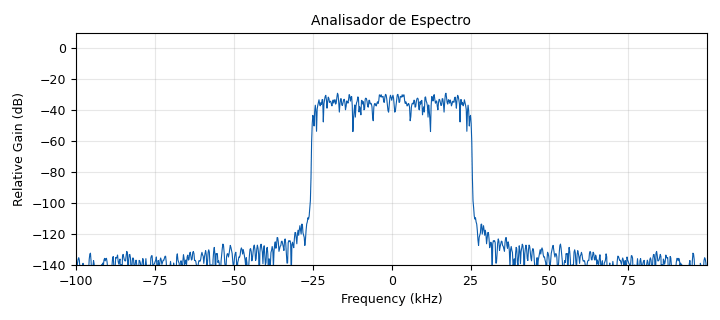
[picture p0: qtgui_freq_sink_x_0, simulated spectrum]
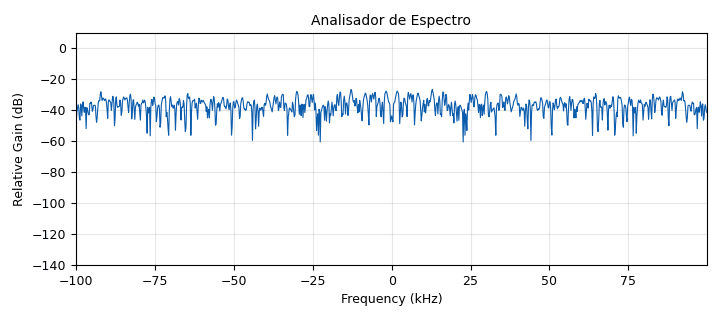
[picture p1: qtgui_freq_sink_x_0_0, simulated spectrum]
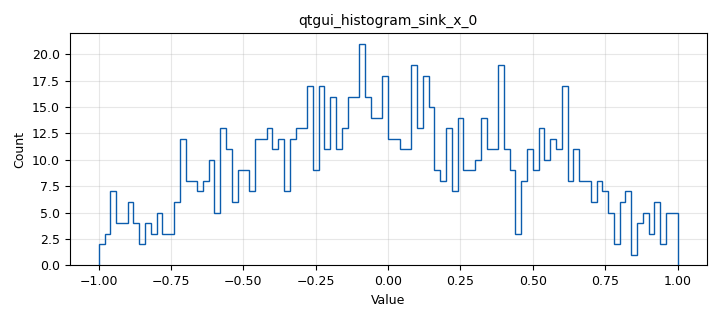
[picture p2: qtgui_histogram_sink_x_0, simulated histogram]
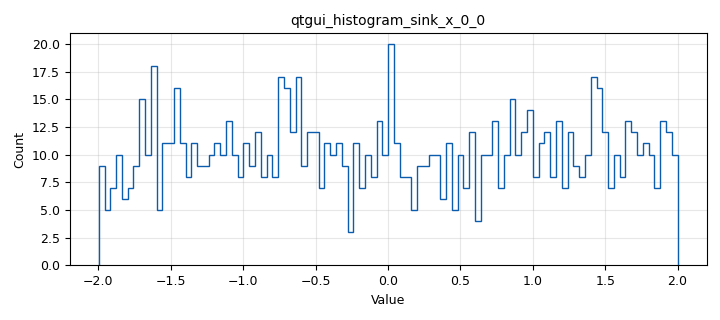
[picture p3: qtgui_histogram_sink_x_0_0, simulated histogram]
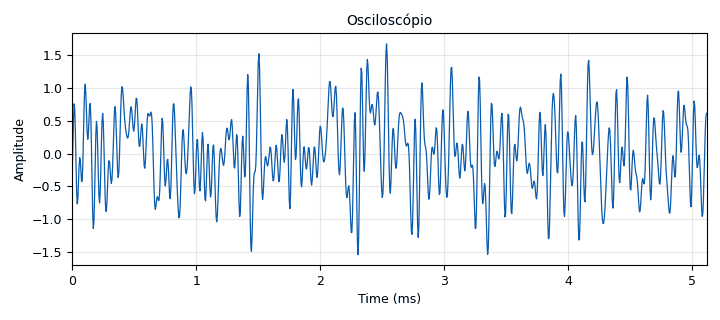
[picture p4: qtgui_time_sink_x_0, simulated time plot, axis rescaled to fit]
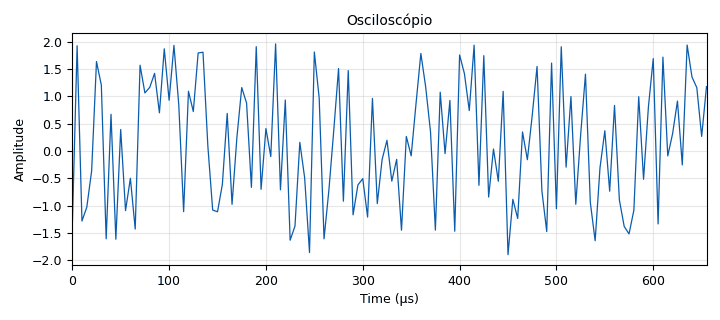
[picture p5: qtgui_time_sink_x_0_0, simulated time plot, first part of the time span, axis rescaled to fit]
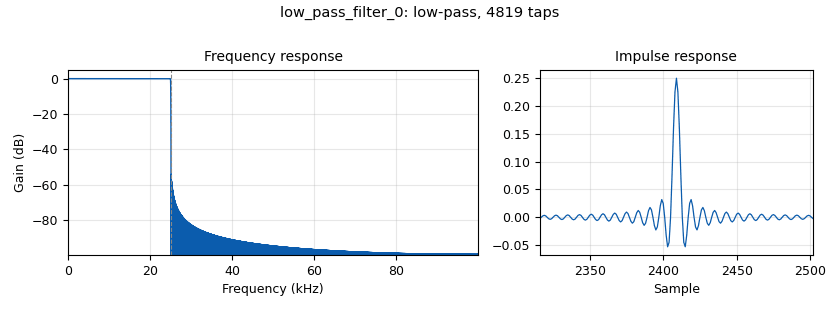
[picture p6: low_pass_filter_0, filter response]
options:
  parameters:
    generate_options: qt_gui
    id: m180108140_Exp06_AR01
    output_language: python
    title: AR01
  states: {}

blocks:
- name: A
  id: variable_qtgui_range
  parameters:
    gui_hint: (3,1,1,1)
    orient: Qt.Horizontal
    start: '0'
    step: '1'
    stop: '10'
    value: '2'
  states: {}
- name: f_corte
  id: variable_qtgui_range
  parameters:
    gui_hint: (3,3,1,1)
    orient: Qt.Horizontal
    start: '0'
    step: '100'
    stop: '30000'
    value: '25000'
  states: {}
- name: samp_rate
  id: variable
  parameters:
    value: '200000'
  states: {}
- name: analog_noise_source_x_0
  id: analog_noise_source_x
  parameters:
    amp: A
    noise_type: analog.GR_UNIFORM
    seed: '0'
    type: float
  states: {}
- name: blocks_multiply_xx_0
  id: blocks_multiply_xx
  parameters:
    type: float
  states: {}
- name: blocks_multiply_xx_0_0
  id: blocks_multiply_xx
  parameters:
    type: float
  states: {}
- name: blocks_rms_xx_0
  id: blocks_rms_xx
  parameters:
    alpha: '0.0001'
    type: float
  states: {}
- name: blocks_rms_xx_0_0
  id: blocks_rms_xx
  parameters:
    alpha: '0.0001'
    type: float
  states: {}
- name: blocks_throttle_0
  id: blocks_throttle
  parameters:
    samples_per_second: samp_rate
    type: float
  states: {}
- name: low_pass_filter_0
  id: low_pass_filter
  parameters:
    cutoff_freq: f_corte
    decim: '1'
    gain: '1'
    samp_rate: samp_rate
    type: fir_filter_fff
    width: '100'
    win: firdes.WIN_HAMMING
  states: {}
- name: qtgui_freq_sink_x_0
  id: qtgui_freq_sink_x
  parameters:
    bw: samp_rate
    fc: '0'
    fftsize: '1024'
    grid: 'True'
    gui_hint: (2,2,1,1)
    name: Analisador de Espectro
    tr_mode: qtgui.TRIG_MODE_AUTO
    type: float
    wintype: firdes.WIN_BLACKMAN_hARRIS
  states: {}
- name: qtgui_freq_sink_x_0_0
  id: qtgui_freq_sink_x
  parameters:
    bw: samp_rate
    fc: '0'
    fftsize: '1024'
    grid: 'True'
    gui_hint: (1,2,1,1)
    name: Analisador de Espectro
    tr_mode: qtgui.TRIG_MODE_AUTO
    type: float
    wintype: firdes.WIN_BLACKMAN_hARRIS
  states: {}
- name: qtgui_histogram_sink_x_0
  id: qtgui_histogram_sink_x
  parameters:
    bins: '100'
    gui_hint: (2,3,1,1)
    size: '1024'
    type: float
    xmax: '1'
    xmin: '-1'
  states: {}
- name: qtgui_histogram_sink_x_0_0
  id: qtgui_histogram_sink_x
  parameters:
    bins: '100'
    gui_hint: (1,3,1,1)
    size: '1024'
    type: float
    xmax: '1'
    xmin: '-1'
  states: {}
- name: qtgui_number_sink_0
  id: qtgui_number_sink
  parameters:
    graph_type: qtgui.NUM_GRAPH_VERT
    gui_hint: (2,4,1,1)
    type: float
  states: {}
- name: qtgui_number_sink_0_0
  id: qtgui_number_sink
  parameters:
    graph_type: qtgui.NUM_GRAPH_VERT
    gui_hint: (1,4,1,1)
    type: float
  states: {}
- name: qtgui_time_sink_x_0
  id: qtgui_time_sink_x
  parameters:
    grid: 'True'
    gui_hint: (2,1,1,1)
    name: Osciloscópio
    size: '1024'
    srate: samp_rate
    tr_mode: qtgui.TRIG_MODE_AUTO
    type: float
    yunit: V
  states: {}
- name: qtgui_time_sink_x_0_0
  id: qtgui_time_sink_x
  parameters:
    grid: 'True'
    gui_hint: (1,1,1,1)
    name: Osciloscópio
    size: '1024'
    srate: samp_rate
    tr_mode: qtgui.TRIG_MODE_AUTO
    type: float
    yunit: V
  states: {}

connections:
- [analog_noise_source_x_0, '0', blocks_throttle_0, '0']
- [blocks_multiply_xx_0, '0', qtgui_number_sink_0, '0']
- [blocks_multiply_xx_0_0, '0', qtgui_number_sink_0_0, '0']
- [blocks_rms_xx_0, '0', blocks_multiply_xx_0, '0']
- [blocks_rms_xx_0, '0', blocks_multiply_xx_0, '1']
- [blocks_rms_xx_0_0, '0', blocks_multiply_xx_0_0, '0']
- [blocks_rms_xx_0_0, '0', blocks_multiply_xx_0_0, '1']
- [blocks_throttle_0, '0', blocks_rms_xx_0_0, '0']
- [blocks_throttle_0, '0', low_pass_filter_0, '0']
- [blocks_throttle_0, '0', qtgui_freq_sink_x_0_0, '0']
- [blocks_throttle_0, '0', qtgui_histogram_sink_x_0_0, '0']
- [blocks_throttle_0, '0', qtgui_time_sink_x_0_0, '0']
- [low_pass_filter_0, '0', blocks_rms_xx_0, '0']
- [low_pass_filter_0, '0', qtgui_freq_sink_x_0, '0']
- [low_pass_filter_0, '0', qtgui_histogram_sink_x_0, '0']
- [low_pass_filter_0, '0', qtgui_time_sink_x_0, '0']

metadata:
  file_format: 1
